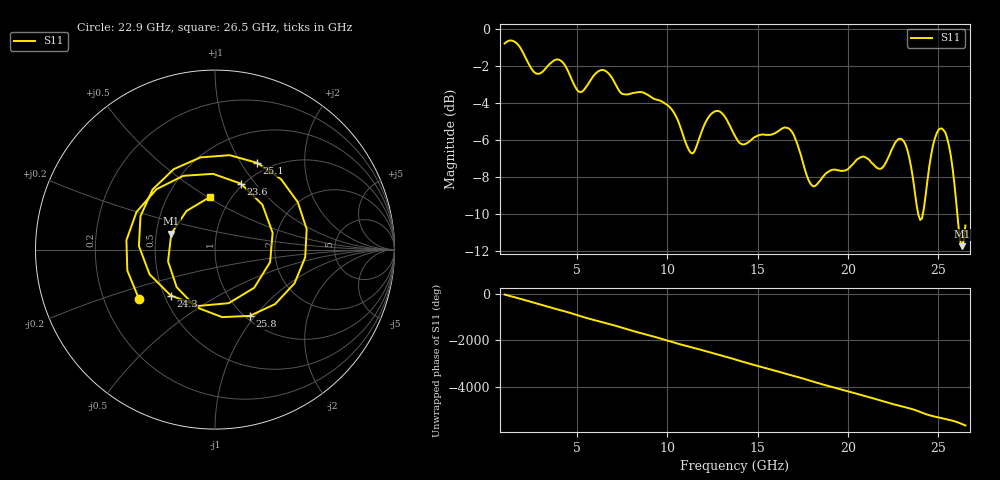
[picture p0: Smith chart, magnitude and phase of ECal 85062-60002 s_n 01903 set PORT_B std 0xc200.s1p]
!Created with skrf (http://scikit-rf.org).
# Hz S RI R 50.0
!freq ReS11 ImS11
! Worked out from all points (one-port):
!   256 points, 1 GHz to 26.5 GHz, reference 50 ohm
!   lowest |S11| = -11.7 dB at 26.3 GHz (marker M1), VSWR 1.70, Z = 30 + j5.7 ohm
!   |S11| at or under -10 dB: 23.89 GHz to 24.14 GHz (252 MHz wide, 1.05 % of centre); 26.05 GHz to end of sweep
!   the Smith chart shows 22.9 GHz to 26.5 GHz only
!   S11 on the Smith chart (normalised r, x): 22.9 GHz: 0.35, -0.26; 23.6 GHz: 0.98, +0.85; 24.3 GHz: 0.54, -0.32; 25.1 GHz: 0.87, +1.18; 25.8 GHz: 1.05, -0.94; 26.5 GHz: 0.80, +0.51
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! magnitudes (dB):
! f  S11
! 1 GHz  -0.8
! 1.7 GHz  -0.8
! 2.8 GHz  -2.4
! 4.2 GHz  -1.8
! 5.1 GHz  -3.4
! 6.4 GHz  -2.2
! 7.4 GHz  -3.4
! 9.6 GHz  -3.9
! 10.6 GHz  -5.0
! 11.4 GHz  -6.7
! 12.6 GHz  -4.5
! 13.8 GHz  -5.9
! 17 GHz  -5.7
! 18.1 GHz  -8.5
! 20.2 GHz  -7.4
! 20.9 GHz  -6.9
! 21.9 GHz  -7.5
! 22.9 GHz  -5.9
! 23.4 GHz  -7.0
! 23.6 GHz  -8.1
! 24 GHz  -10.3
! 24.3 GHz  -9.0
! 24.7 GHz  -6.3
! 25.1 GHz  -5.4
! 25.4 GHz  -5.6
! 25.8 GHz  -7.6
! 26.3 GHz  -11.7
! 26.5 GHz  -10.6
